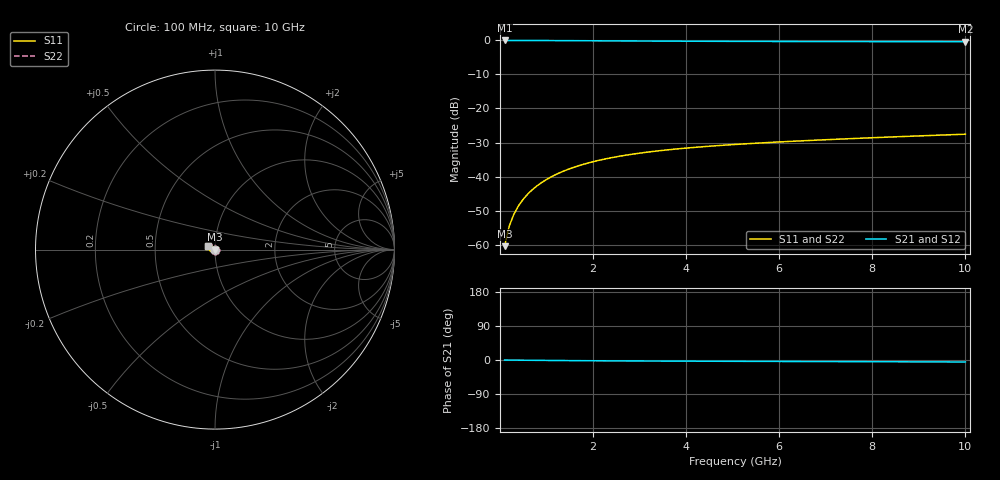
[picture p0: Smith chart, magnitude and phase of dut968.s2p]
! Touchstone file exported from HFSS 2024.1.0
!  File:  C:/UserFiles/LocalFiles/RDL_TSV_Batchsim/temp_TSV1_968_1779950988.aedt
!  Generated:  02:55:05 PM May 28, 2026
!  Design:  TSV1
!  Project:  temp_TSV1_968_1779950988
!  Setup:  Setup1
!  Solution:  Sweep
! Variables:
!  dtsv = 8.55um
!  hbump = 3um
!  htsv = 77.87um
!  lrdl = 252.1521522um
!  p = 40
!  p1 = 57.37um
!  t = 500um
!  trdl = 3um
!  wrdl = 24.89489489um
# GHz S MA R 50.000000
! Terminal data exported
! Port[1] = TSV22_T1
! Port[2] = TSV22_T2
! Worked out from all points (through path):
!   100 points, 100 MHz to 10 GHz, reference 50 ohm
!   highest |S21| = 0.00 dB at 100 MHz (marker M1); lowest = -0.4 dB at 10 GHz (marker M2)
!   lowest |S11| = -60.5 dB at 100 MHz (marker M3), VSWR 1.00, Z = 50 - j0.0935 ohm
!   |S11| at or under -10 dB: start of sweep to end of sweep
!   |S22| runs from -60.5 to -27.6 dB; largest |S21 - S12| = 5e-15
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0.1  0.0009481 -80.4  0.9998 -0.1  0.9998 -0.1  0.0009481 -80.4
! Gamma 0 0 0 0
! Port Impedance 50 0 50 0
0.2  0.001874 -88.2  0.9996 -0.2  0.9996 -0.2  0.001874 -88.2
0.3  0.002804 -92.4  0.9995 -0.4  0.9995 -0.4  0.002804 -92.4
0.4  0.003729 -95.5  0.9992 -0.5  0.9992 -0.5  0.003729 -95.5
0.5  0.004646 -98.3  0.9989 -0.6  0.9989 -0.6  0.004646 -98.3
0.6  0.005553 -100.9  0.9985 -0.7  0.9985 -0.7  0.005553 -100.9
0.7  0.006449 -103.3  0.998 -0.8  0.998 -0.8  0.006449 -103.3
0.8  0.007331 -105.6  0.9975 -0.9  0.9975 -0.9  0.007331 -105.6
0.9  0.008198 -107.9  0.997 -1.0  0.997 -1.0  0.008198 -107.9
1.1  0.009883 -112.3  0.9958 -1.2  0.9958 -1.2  0.009883 -112.3
1.4  0.01227 -118.5  0.9936 -1.5  0.9936 -1.5  0.01227 -118.5
1.6  0.01377 -122.4  0.9921 -1.7  0.9921 -1.7  0.01377 -122.4
1.8  0.01518 -126.2  0.9905 -1.8  0.9905 -1.8  0.01518 -126.2
2.1  0.01715 -131.6  0.9881 -2.1  0.9881 -2.1  0.01715 -131.6
2.5  0.0195 -138.3  0.9848 -2.3  0.9848 -2.3  0.0195 -138.3
2.9  0.02158 -144.5  0.9818 -2.6  0.9818 -2.6  0.02158 -144.5
3.4  0.02385 -151.5  0.9783 -2.8  0.9783 -2.8  0.02385 -151.5
4.2  0.02689 -161.4  0.9736 -3.1  0.9736 -3.1  0.02689 -161.4
5.1  0.02974 -171.0  0.9694 -3.5  0.9694 -3.5  0.02974 -171.0
6.7  0.03402 175.2  0.9642 -4.0  0.9642 -4.0  0.03402 175.2
8.4  0.03813 163.6  0.9606 -4.6  0.9606 -4.6  0.03813 163.6
10  0.04191 154.7  0.9583 -5.2  0.9583 -5.2  0.04191 154.7
